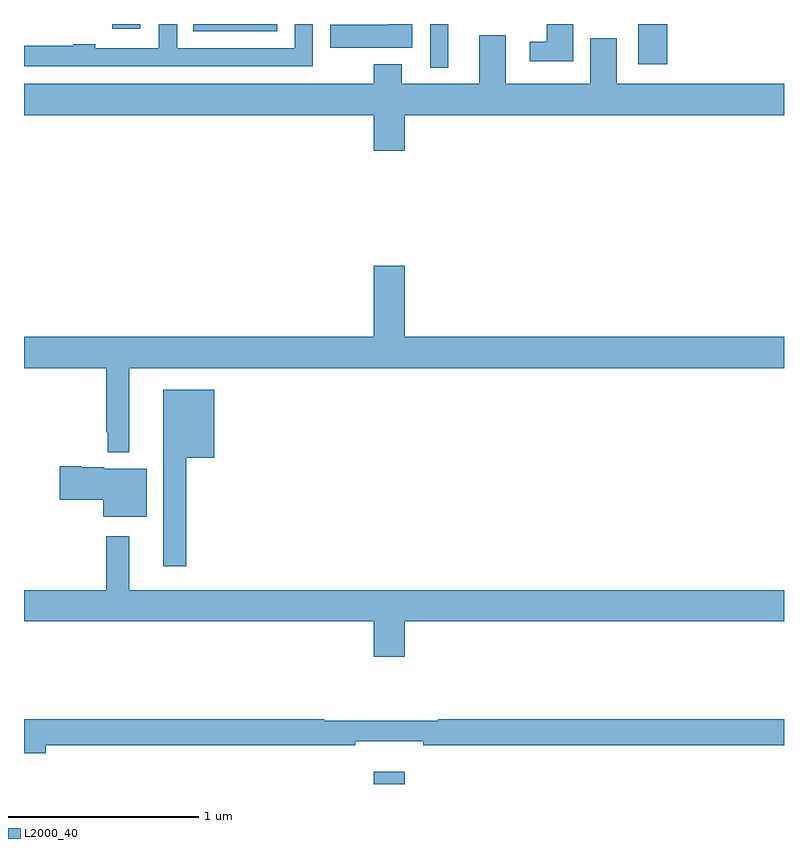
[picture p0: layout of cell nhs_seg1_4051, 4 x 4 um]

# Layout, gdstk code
import gdstk
lib = gdstk.Library(unit=1e-6, precision=1e-09)
def R(c, l, rs):  # rectangles x0, y0, x1, y1
    for r in rs: c.add(gdstk.rectangle(r[:2], r[2:], *l))
def P(c, l, *ps):  # polygons
    for p in ps: c.add(gdstk.Polygon(p, *l))
L2000_40 = (2000, 40)

nhs_seg1_4051 = lib.new_cell('nhs_seg1_4051')
R(nhs_seg1_4051, L2000_40, [(332.84,560.199,333.004,560.263), (333.138,563.97,333.234,564.199), (334.232,563.988,334.385,564.199), (331.891,564.162,332.334,564.199), (331.465,564.174,331.612,564.199)])
P(nhs_seg1_4051, L2000_40, [(333.043,564.199),(332.914,564.199),(332.914,564.196),(332.613,564.196),(332.613,564.074),(333.043,564.074)],
  [(332.52,564.199),(332.424,564.199),(332.424,564.072),(331.806,564.072),(331.806,564.199),(331.71,564.199),(331.71,564.072),(331.376,564.072),(331.376,564.092),(331.26,564.092),(331.26,564.085),(331,564.085),(331,563.976),(332.52,563.976)],
  [(333.892,564.199),(333.752,564.199),(333.752,564.106),(333.663,564.106),(333.663,564.002),(333.892,564.002)],
  [(333.004,563.72),(335,563.72),(335,563.884),(334.12,563.884),(334.12,564.124),(333.98,564.124),(333.98,563.884),(333.535,563.884),(333.535,564.139),(333.395,564.139),(333.395,563.884),(332.989,563.884),(332.989,563.986),(332.842,563.986),(332.842,563.884),(331,563.884),(331,563.72),(332.84,563.72),(332.84,563.532),(333.004,563.532)],
  [(331.555,562.388),(335,562.388),(335,562.552),(333.004,562.552),(333.004,562.927),(332.84,562.927),(332.84,562.552),(331,562.552),(331,562.388),(331.434,562.388),(331.434,562.051),(331.441,562.051),(331.441,561.944),(331.555,561.944)],
  [(331.855,561.917),(332.002,561.917),(332.002,562.273),(331.733,562.273),(331.733,561.345),(331.855,561.345)],
  [(331.645,561.859),(331.422,561.859),(331.422,561.865),(331.3,561.865),(331.3,561.872),(331.188,561.872),(331.188,561.694),(331.418,561.694),(331.418,561.605),(331.645,561.605)],
  [(333.004,561.056),(335,561.056),(335,561.22),(331.555,561.22),(331.555,561.502),(331.434,561.502),(331.434,561.22),(331,561.22),(331,561.056),(332.84,561.056),(332.84,560.868),(333.004,560.868)],
  [(331.114,560.404),(332.744,560.404),(332.744,560.423),(333.1,560.423),(333.1,560.404),(335,560.404),(335,560.54),(333.179,560.54),(333.179,560.533),(332.579,560.533),(332.579,560.54),(331,560.54),(331,560.362),(331.114,560.362)])

lib.write_gds('nhs_seg1_4051.gds')
